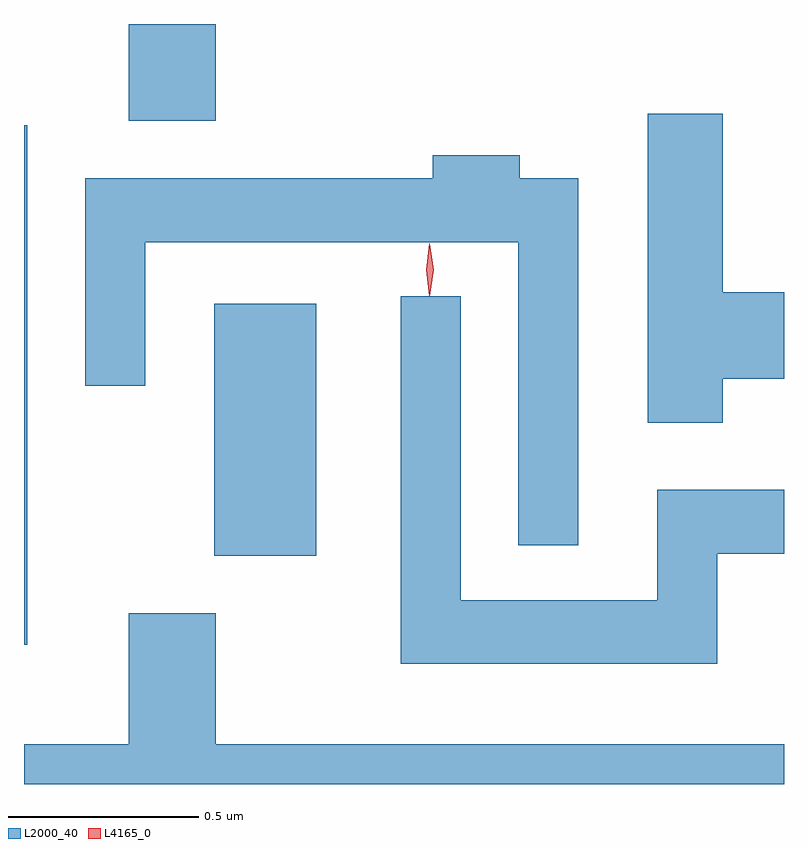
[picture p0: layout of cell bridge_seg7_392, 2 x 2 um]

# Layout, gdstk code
import gdstk
lib = gdstk.Library(unit=1e-6, precision=1e-09)
def R(c, l, rs):  # rectangles x0, y0, x1, y1
    for r in rs: c.add(gdstk.rectangle(r[:2], r[2:], *l))
def P(c, l, *ps):  # polygons
    for p in ps: c.add(gdstk.Polygon(p, *l))
L2000_40 = (2000, 40)
L4165_0 = (4165, 0)

bridge_seg7_392 = lib.new_cell('bridge_seg7_392')
R(bridge_seg7_392, L2000_40, [(1117.565,1737.046,1117.574,1738.413), (1118.066,1737.281,1118.334,1737.944), (1117.841,1738.426,1118.069,1738.68)])
P(bridge_seg7_392, L2000_40, [(1119.404,1737.746),(1119.565,1737.746),(1119.565,1737.974),(1119.404,1737.974),(1119.404,1738.444),(1119.206,1738.444),(1119.206,1737.631),(1119.404,1737.631)],
  [(1119.024,1738.274),(1118.869,1738.274),(1118.869,1738.334),(1118.641,1738.334),(1118.641,1738.274),(1117.726,1738.274),(1117.726,1737.728),(1117.884,1737.728),(1117.884,1738.106),(1118.866,1738.106),(1118.866,1737.308),(1119.024,1737.308)],
  [(1119.389,1737.286),(1119.565,1737.286),(1119.565,1737.454),(1119.231,1737.454),(1119.231,1737.164),(1118.714,1737.164),(1118.714,1737.963),(1118.556,1737.963),(1118.556,1736.996),(1119.389,1736.996)],
  [(1119.565,1736.784),(1118.069,1736.784),(1118.069,1737.129),(1117.841,1737.129),(1117.841,1736.784),(1117.565,1736.784),(1117.565,1736.68),(1119.565,1736.68)])
P(bridge_seg7_392, L4165_0, [(1118.633,1737.963),(1118.632,1737.964),(1118.623,1738.033),(1118.632,1738.102),(1118.633,1738.103),(1118.633,1738.102),(1118.643,1738.033),(1118.633,1737.964)])

lib.write_gds('bridge_seg7_392.gds')
